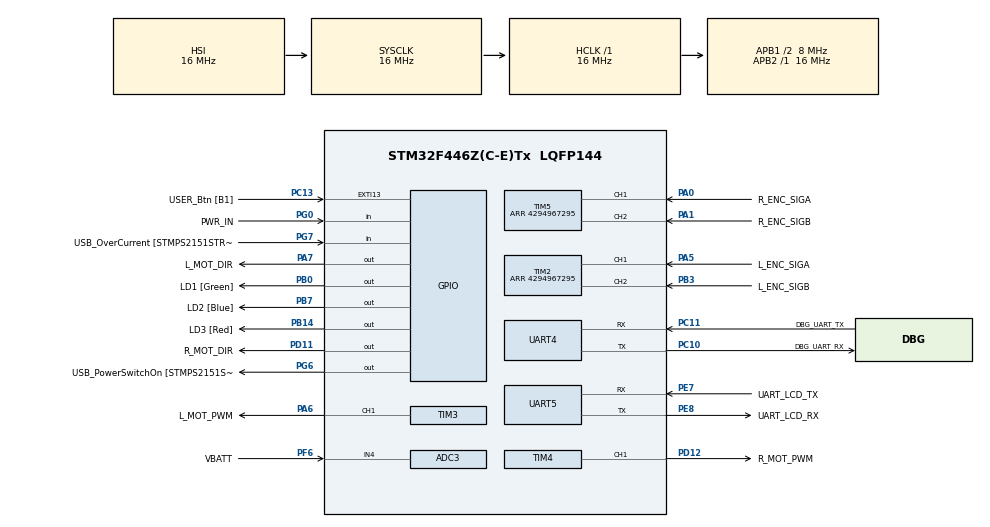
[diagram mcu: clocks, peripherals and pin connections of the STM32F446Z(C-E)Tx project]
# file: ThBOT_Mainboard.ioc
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ADC3.Channel-0\#ChannelRegularConversion=ADC_CHANNEL_4
ADC3.NbrOfConversionFlag=1
ADC3.Rank-0\#ChannelRegularConversion=1
ADC3.SamplingTime-0\#ChannelRegularConversion=ADC_SAMPLETIME_3CYCLES
Dma.Request0=UART4_RX
Dma.Request1=UART5_RX
Dma.UART4_RX.0.Direction=DMA_PERIPH_TO_MEMORY
Dma.UART4_RX.0.FIFOMode=DMA_FIFOMODE_DISABLE
Dma.UART4_RX.0.Instance=DMA1_Stream2
Dma.UART4_RX.0.MemDataAlignment=DMA_MDATAALIGN_BYTE
Dma.UART4_RX.0.MemInc=DMA_MINC_ENABLE
Dma.UART4_RX.0.Mode=DMA_NORMAL
Dma.UART4_RX.0.PeriphDataAlignment=DMA_PDATAALIGN_BYTE
Dma.UART4_RX.0.PeriphInc=DMA_PINC_DISABLE
Dma.UART4_RX.0.Priority=DMA_PRIORITY_LOW
Dma.UART5_RX.1.Direction=DMA_PERIPH_TO_MEMORY
Dma.UART5_RX.1.FIFOMode=DMA_FIFOMODE_DISABLE
Dma.UART5_RX.1.Instance=DMA1_Stream0
Dma.UART5_RX.1.MemDataAlignment=DMA_MDATAALIGN_BYTE
Dma.UART5_RX.1.MemInc=DMA_MINC_ENABLE
Dma.UART5_RX.1.Mode=DMA_NORMAL
Dma.UART5_RX.1.PeriphDataAlignment=DMA_PDATAALIGN_BYTE
Dma.UART5_RX.1.PeriphInc=DMA_PINC_DISABLE
Dma.UART5_RX.1.Priority=DMA_PRIORITY_LOW
FREERTOS.INCLUDE_vTaskDelayUntil=1
FREERTOS.Tasks01=defaultTask,0,256,StartDefaultTask,Default,NULL,Dynamic,NULL,NULL
FREERTOS.configMINIMAL_STACK_SIZE=128
Mcu.Family=STM32F4
Mcu.Name=STM32F446Z(C-E)Tx
Mcu.Package=LQFP144
NVIC.DMA1_Stream0_IRQn=true\:5\:0\:false\:false\:true\:true\:false
NVIC.DMA1_Stream2_IRQn=true\:5\:0\:false\:false\:true\:true\:false
NVIC.PriorityGroup=NVIC_PRIORITYGROUP_4
NVIC.TIM1_UP_TIM10_IRQn=true\:0\:0\:false\:false\:true\:false\:false
NVIC.TimeBase=TIM1_UP_TIM10_IRQn
NVIC.TimeBaseIP=TIM1
NVIC.UART4_IRQn=true\:5\:0\:false\:false\:true\:true\:true
NVIC.UART5_IRQn=true\:5\:0\:false\:false\:true\:true\:true
PA0-WKUP.GPIO_Label=R_ENC_SIGA
PA0-WKUP.GPIO_PuPd=GPIO_PULLUP
PA0-WKUP.Signal=S_TIM5_CH1
PA1.GPIO_Label=R_ENC_SIGB
PA1.GPIO_PuPd=GPIO_PULLUP
PA1.Signal=S_TIM5_CH2
PA10.GPIO_Label=USB_ID
PA10.Signal=USB_OTG_FS_ID
PA11.GPIO_Label=USB_DM
PA11.Signal=USB_OTG_FS_DM
PA12.GPIO_Label=USB_DP
PA12.Signal=USB_OTG_FS_DP
PA13.GPIO_Label=TMS
PA13.Mode=Serial_Wire
PA13.Signal=SYS_JTMS-SWDIO
PA14.GPIO_Label=TCK
PA14.Mode=Serial_Wire
PA14.Signal=SYS_JTCK-SWCLK
PA5.GPIO_Label=L_ENC_SIGA
PA5.GPIO_PuPd=GPIO_PULLUP
PA5.Signal=S_TIM2_CH1_ETR
PA6.GPIO_Label=L_MOT_PWM
PA6.Signal=S_TIM3_CH1
PA7.GPIO_Label=L_MOT_DIR
PA7.Signal=GPIO_Output
PA8.GPIO_Label=USB_SOF [TP1]
PA8.Signal=USB_OTG_FS_SOF
PA9.GPIO_Label=USB_VBUS
PA9.Signal=USB_OTG_FS_VBUS
PB0.GPIO_Label=LD1 [Green]
PB0.Signal=GPIO_Output
PB14.GPIO_Label=LD3 [Red]
PB14.Signal=GPIO_Output
PB3.GPIO_Label=L_ENC_SIGB
PB3.GPIO_PuPd=GPIO_PULLUP
PB3.Signal=S_TIM2_CH2
PB7.GPIO_Label=LD2 [Blue]
PB7.Signal=GPIO_Output
PC10.GPIO_Label=DBG_UART_RX
PC10.Mode=Asynchronous
PC10.Signal=UART4_TX
PC11.GPIO_Label=DBG_UART_TX
PC11.Mode=Asynchronous
PC11.Signal=UART4_RX
PC13.GPIO_Label=USER_Btn [B1]
PC13.Signal=GPXTI13
PC14-OSC32_IN.Signal=RCC_OSC32_IN
PC15-OSC32_OUT.Signal=RCC_OSC32_OUT
PD11.GPIO_Label=R_MOT_DIR
PD11.Signal=GPIO_Output
PD12.GPIO_Label=R_MOT_PWM
PD12.Signal=S_TIM4_CH1
PD8.GPIO_Label=STLK_RX [STM32F103CBT6_PA3]
PD8.Signal=USART3_TX
PD9.GPIO_Label=STLK_TX [STM32F103CBT6_PA2]
PD9.Signal=USART3_RX
PE7.GPIO_Label=UART_LCD_TX
PE7.Mode=Asynchronous
PE7.Signal=UART5_RX
PE8.GPIO_Label=UART_LCD_RX
PE8.Mode=Asynchronous
PE8.Signal=UART5_TX
PF6.GPIO_Label=VBATT
PF6.Mode=IN4
PF6.Signal=ADC3_IN4
PG0.GPIO_Label=PWR_IN
PG0.Signal=GPIO_Input
PG6.GPIO_Label=USB_PowerSwitchOn [STMPS2151STR_EN]
PG6.Signal=GPIO_Output
PG7.GPIO_Label=USB_OverCurrent [STMPS2151STR_FAULT]
PG7.Signal=GPIO_Input
PH0-OSC_IN.GPIO_Label=MCO [STM32F103CBT6_PA8]
PH0-OSC_IN.Signal=RCC_OSC_IN
PH1-OSC_OUT.Signal=RCC_OSC_OUT
ProjectManager.HeapSize=0x200
ProjectManager.StackSize=0x400
ProjectManager.TargetToolchain=SW4STM32
RCC.48MHZClocksFreq_Value=24000000
RCC.AHBFreq_Value=16000000
RCC.APB1CLKDivider=RCC_HCLK_DIV2
RCC.APB1Freq_Value=8000000
RCC.APB1TimFreq_Value=16000000
RCC.APB2Freq_Value=16000000
RCC.APB2TimFreq_Value=16000000
RCC.CortexFreq_Value=16000000
RCC.HCLKFreq_Value=16000000
RCC.HSE_VALUE=8000000
RCC.HSI_VALUE=16000000
RCC.LSE_VALUE=32768
RCC.PLLMUL=RCC_PLL_MUL9
RCC.PRESCALERUSB=RCC_USBCLKSOURCE_PLL_DIV1_5
RCC.SYSCLKFreq_VALUE=16000000
RCC.SYSCLKSourceVirtual=RCC_SYSCLKSOURCE_PLLCLK
RCC.USBFreq_Value=96000000
RCC.VCOOutputFreq_Value=192000000
SH.S_TIM2_CH1_ETR.0=TIM2_CH1,Encoder_Interface
SH.S_TIM2_CH2.0=TIM2_CH2,Encoder_Interface
SH.S_TIM3_CH1.0=TIM3_CH1,PWM Generation1 CH1
SH.S_TIM4_CH1.0=TIM4_CH1,PWM Generation1 CH1
SH.S_TIM5_CH1.0=TIM5_CH1,Encoder_Interface
SH.S_TIM5_CH2.0=TIM5_CH2,Encoder_Interface
TIM2.IC1Polarity=TIM_ICPOLARITY_RISING
TIM2.IC2Polarity=TIM_ICPOLARITY_RISING
TIM2.Period=4294967295
TIM3.Channel-PWM\ Generation1\ CH1=TIM_CHANNEL_1
TIM3.Period=1000
TIM3.Pulse-PWM\ Generation1\ CH1=1
TIM4.Channel-PWM\ Generation1\ CH1=TIM_CHANNEL_1
TIM4.Period=1000
TIM4.Pulse-PWM\ Generation1\ CH1=1
TIM5.Period=4294967295
UART4.VirtualMode=Asynchronous
UART5.VirtualMode=Asynchronous
VP_FREERTOS_VS_ENABLE.Mode=Enabled
VP_SYS_VS_tim1.Mode=TIM1
board=NUCLEO-F446ZE

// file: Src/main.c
/**
  ******************************************************************************
  * File Name          : main.c
  * Description        : Main program body
  ******************************************************************************
  * This notice applies to any and all portions of this file
  * that are not between comment pairs USER CODE BEGIN and
  * USER CODE END. Other portions of this file, whether
  * inserted by the user or by software development tools
  * are owned by their respective copyright owners.
  *
  * Copyright (c) 2018 STMicroelectronics International N.V.
  * All rights reserved.
  *
  * Redistribution and use in source and binary forms, with or without
  * modification, are permitted, provided that the following conditions are met:
  *
  * 1. Redistribution of source code must retain the above copyright notice,
  *    this list of conditions and the following disclaimer.
  * 2. Redistributions in binary form must reproduce the above copyright notice,
  *    this list of conditions and the following disclaimer in the documentation
  *    and/or other materials provided with the distribution.
  * 3. Neither the name of STMicroelectronics nor the names of other
  *    contributors to this software may be used to endorse or promote products
  *    derived from this software without specific written permission.
  * 4. This software, including modifications and/or derivative works of this
  *    software, must execute solely and exclusively on microcontroller or
  *    microprocessor devices manufactured by or for STMicroelectronics.
  * 5. Redistribution and use of this software other than as permitted under
  *    this license is void and will automatically terminate your rights under
  *    this license.
  *
  * THIS SOFTWARE IS PROVIDED BY STMICROELECTRONICS AND CONTRIBUTORS "AS IS"
  * AND ANY EXPRESS, IMPLIED OR STATUTORY WARRANTIES, INCLUDING, BUT NOT
  * LIMITED TO, THE IMPLIED WARRANTIES OF MERCHANTABILITY, FITNESS FOR A
  * PARTICULAR PURPOSE AND NON-INFRINGEMENT OF THIRD PARTY INTELLECTUAL PROPERTY
  * RIGHTS ARE DISCLAIMED TO THE FULLEST EXTENT PERMITTED BY LAW. IN NO EVENT
  * SHALL STMICROELECTRONICS OR CONTRIBUTORS BE LIABLE FOR ANY DIRECT, INDIRECT,
  * INCIDENTAL, SPECIAL, EXEMPLARY, OR CONSEQUENTIAL DAMAGES (INCLUDING, BUT NOT
  * LIMITED TO, PROCUREMENT OF SUBSTITUTE GOODS OR SERVICES; LOSS OF USE, DATA,
  * OR PROFITS; OR BUSINESS INTERRUPTION) HOWEVER CAUSED AND ON ANY THEORY OF
  * LIABILITY, WHETHER IN CONTRACT, STRICT LIABILITY, OR TORT (INCLUDING
  * NEGLIGENCE OR OTHERWISE) ARISING IN ANY WAY OUT OF THE USE OF THIS SOFTWARE,
  * EVEN IF ADVISED OF THE POSSIBILITY OF SUCH DAMAGE.
  *
  ******************************************************************************
  */

#include "main.h"
#include "stm32f4xx_hal.h"
#include "cmsis_os.h"
#include "adc.h"
#include "dma.h"
#include "tim.h"
#include "usart.h"
#include "gpio.h"

/* USER CODE BEGIN Includes */
/* http://www.openstm32.org/forumthread339 */
/* #include "cmsis_os.h" */
#include "thb-bsp.h"

#include "RobotCore_C.h"

//#include "core_cm4.h"
/* USER CODE END Includes */

/* USER CODE BEGIN PV */
/* Private variables ---------------------------------------------------------*/
struct RobotCore * ptr_RobotCore;

/* USER CODE END PV */

#ifdef __GNUC__
/* With GCC, small printf (option LD Linker->Libraries->Small printf
   set to 'Yes') calls __io_putchar() */
#define PUTCHAR_PROTOTYPE int __io_putchar(int ch)
#define GETCHAR_PROTOTYPE int __io_getchar(void)
#else
#define PUTCHAR_PROTOTYPE int fputc(int ch, FILE *f)
#define GETCHAR_PROTOTYPE int fgetc(FILE *f)
#endif /* __GNUC__ */

void SystemClock_Config(void);
void MX_FREERTOS_Init(void);

/* USER CODE BEGIN PFP */
/* Private function prototypes -----------------------------------------------*/
extern void initialise_monitor_handles(void);

/* USER CODE END PFP */

/* USER CODE BEGIN 0 */
// Stub for release version
__weak void initialise_monitor_handles(void)
{
}

/**
  * @brief  Retargets the C library printf function to the USART.
  * @param  None
  * @retval None
  */
PUTCHAR_PROTOTYPE
{
  /* Place your implementation of fputc here */
  /* e.g. write a character to the USART and Loop until the end of transmission */
  thb_UART4_SendData((char *)&ch, 1);

  return ch;
}

GETCHAR_PROTOTYPE {
	char ch = '\0';

	thb_UART4_ReceivedData((char *)&ch, 1);

	return ch;
}
static const char CrashMessage[]="Crash!!!\n";

#if 1
// https://www.segger.com/downloads/application-notes/AN00016

// System Handler Control and State Register
#define SYSHND_CTRL (*(volatile unsigned int*)  (0xE000ED24u))
// Memory Management Fault Status Register
#define NVIC_MFSR   (*(volatile unsigned char*) (0xE000ED28u))
// Bus Fault Status Register
#define NVIC_BFSR   (*(volatile unsigned char*) (0xE000ED29u))
// Usage Fault Status Register
#define NVIC_UFSR   (*(volatile unsigned short*)(0xE000ED2Au))
// Hard Fault Status Register
#define NVIC_HFSR   (*(volatile unsigned int*)  (0xE000ED2Cu))
// Debug Fault Status Register
#define NVIC_DFSR   (*(volatile unsigned int*)  (0xE000ED30u))
// Bus Fault Manage Address Register
#define NVIC_BFAR   (*(volatile unsigned int*)  (0xE000ED38u))
// Auxiliary Fault Status Register
#define NVIC_AFSR   (*(volatile unsigned int*)  (0xE000ED3Cu))

static struct {
  struct {
    volatile unsigned int r0;           // Register R0
    volatile unsigned int r1;// Register R1
    volatile unsigned int r2;// Register R2
    volatile unsigned int r3;// Register R3
    volatile unsigned int r12;// Register R12
    volatile unsigned int lr;// Link register
    volatile unsigned int pc;  // Program counter
    union {
      volatile unsigned int byte;
      struct {
        unsigned int IPSR : 8;          // Interrupt Program Status register (IPSR)
        unsigned int EPSR : 19;         // Execution Program Status register (EPSR)
         unsigned int APSR : 5;           // Application Program Status register (APSR)
      } bits;
    } psr;                              // Program status register.
  } SavedRegs;

  union {
   volatile unsigned int byte;
   struct {
     unsigned int MEMFAULTACT    : 1;// Read as 1 if memory management fault
                                       // is active
     unsigned int BUSFAULTACT     : 1;// Read as 1 if bus fault exception is active
  unsigned int UnusedBits1    : 1;
  unsigned int USGFAULTACT    : 1;// Read as 1 if usage fault exception
                                     // is active
  unsigned int UnusedBits2    : 3;
  unsigned int SVCALLACT      : 1;// Read as 1 if SVC exception is active
  unsigned int MONITORACT     : 1;// Read as 1 if debug monitor exception
                                     // is active
  unsigned int UnusedBits3    : 1;
  unsigned int PENDSVACT      : 1;// Read as 1 if PendSV exception is active
  unsigned int SYSTICKACT     : 1;// Read as 1 if SYSTICK exception is active
  unsigned int USGFAULTPENDED : 1;// Usage fault pended; usage fault started
                                     // but was replaced by a higher-priority
                                     // exception
  unsigned int MEMFAULTPENDED : 1;// Memory management fault pended; memory
                                     // management fault started but was
                                     // replaced by a higher-priority exception
  unsigned int BUSFAULTPENDED : 1;// Bus fault pended; bus fault handler was
                                     // started but was replaced by a
                                     // higher-priority exception
  unsigned int SVCALLPENDED   : 1;// SVC pended; SVC was started but was
                                     // replaced by a higher-priority exception
  unsigned int MEMFAULTENA    : 1;// Memory management fault handler enable
  unsigned int BUSFAULTENA    : 1;// Bus fault handler enable
  unsigned int USGFAULTENA    : 1;// Usage fault handler enable
} bits;
} syshndctrl;

  union {
    volatile unsigned char byte;
    struct {
      unsigned char IACCVIOL    : 1;// Instruction access violation
      unsigned char DACCVIOL    : 1;// Data access violation
      unsigned char UnusedBits  : 1;
      unsigned char MUNSTKERR   : 1;// Unstacking error
      unsigned char MSTKERR     : 1; // Stacking error
      unsigned char UnusedBits2 : 2;
      unsigned char MMARVALID   : 1;// Indicates the MMAR is valid
    } bits;
  } mfsr;
                                // Memory Management Fault Status
                                         // Register (0xE000ED28)
  union {
    volatile unsigned int byte;
    struct {
      unsigned int IBUSERR    : 1; // Instruction access violation
      unsigned int PRECISERR  : 1;// Precise data access violation
      unsigned int IMPREISERR : 1;// Imprecise data access violation
      unsigned int UNSTKERR   : 1;// Unstacking error
      unsigned int STKERR     : 1;// Stacking error
      unsigned int UnusedBits : 2;
      unsigned int BFARVALID  : 1; // Indicates BFAR is valid
    } bits;
  } bfsr; // Bus Fault Status Register (0xE000ED29)

  volatile unsigned int bfar;            // Bus Fault Manage Address Register
                                         // (0xE000ED38)
  union {
    volatile unsigned short byte;
    struct {
      unsigned short UNDEFINSTR : 1;     // Attempts to execute an undefined
                                         // instruction
      unsigned short INVSTATE   : 1;     // Attempts to switch to an invalid state
                                         // (e.g., ARM)
      unsigned short INVPC      : 1;     // Attempts to do an exception with a bad
                                         // value in the EXC_RETURN number
      unsigned short NOCP       : 1;     // Attempts to execute a coprocessor
                                         // instruction
      unsigned short UnusedBits : 4;
      unsigned short UNALIGNED  : 1;     // Indicates that an unaligned access fault
                                         // has taken place
      unsigned short DIVBYZERO  : 1;     // Indicates a divide by zero has taken
                                         // place (can be set only if DIV_0_TRP
                                         // is set)
    } bits;
  } ufsr;

  union {
    volatile unsigned int byte;
    struct {
      unsigned int UnusedBits  : 1;
  unsigned int VECTBL      : 1;		// Indicates hard fault is caused by failed
                                    // vector fetch
  unsigned int UnusedBits2 : 28;
  unsigned int FORCED      : 1;		// Indicates hard fault is taken because of
                                    // bus fault/memory management fault/usage
                                    // fault
  unsigned int DEBUGEVT    : 1;		// Indicates hard fault is triggered by
                                    // debug event
	} bits;
  } hfsr;							// Hard Fault Status Register (0xE000ED2C)

  union {
	  volatile unsigned int byte;
	  struct {
		  unsigned int HALTED   : 1;// Halt requested in NVIC
		  unsigned int BKPT     : 1;// BKPT instruction executed
		  unsigned int DWTTRAP  : 1;// DWT match occurred
		  unsigned int VCATCH   : 1;// Vector fetch occurred
		  unsigned int EXTERNAL : 1;// EDBGRQ signal asserted
    } bits;
  } dfsr;                              // Debug Fault Status Register (0xE000ED30)
  volatile unsigned int afsr;          // Auxiliary Fault Status Register
                                     // (0xE000ED3C) Vendor controlled (optional)
} HardFaultRegs;

__weak void HardFault_Handler(void)
{
	__asm volatile
	(
			" tst lr, #4                                                \n"
	        " ite eq                                                    \n"
	        " mrseq r0, msp                                             \n"
	        " mrsne r0, psp                                             \n"
			" b     HardFaultHandler                                    \n"
	);
}

static volatile uint32_t _Continue = 0u;

void HardFaultHandler(unsigned int* pStack){

	  //
	  // In case we received a hard fault because of a breakpoint instruction, we return.
	  // This may happen when using semihosting for printf outputs and no debugger
	  // is connected, i.e. when running a "Debug" configuration in release mode.
	  //
	if (SCB->HFSR & (1uL << 31)) {
		SCB->HFSR |=  (1uL << 31);
	// Reset Hard Fault status
	  *(pStack + 6u) += 2u;
	        // PC is located on stack at SP + 24 bytes;
	                               // increment PC by 2 to skip break instruction.
	  return;
	}

	//
	// Read NVIC registers
	//
	HardFaultRegs.syshndctrl.byte = SYSHND_CTRL;	// System Handler Control and
	                                                // State Register
	HardFaultRegs.mfsr.byte       = NVIC_MFSR;      // Memory Fault Status Register
	HardFaultRegs.bfsr.byte       = NVIC_BFSR;    	// Bus Fault Status Register
	HardFaultRegs.bfar            = NVIC_BFAR;    	// Bus Fault Manage Address Register
	HardFaultRegs.ufsr.byte       = NVIC_UFSR;    	// Usage Fault Status Register
	HardFaultRegs.hfsr.byte       = NVIC_HFSR;    	// Hard Fault Status Register
	HardFaultRegs.dfsr.byte       = NVIC_DFSR;    	// Debug Fault Status Register
	HardFaultRegs.afsr            = NVIC_AFSR;    	// Auxiliary Fault Status Register
	//
	// Halt execution
	// If NVIC registers indicate readable memory, change the variable value
	// to != 0 to continue execution.
	//

	thb_UART4_SendData(&HardFaultRegs.bfsr.byte, 1);

	thb_UART4_SendData((char *)CrashMessage, 9);
	while (_Continue == 0u);

	//
	// Read saved registers from the stack
	//
	HardFaultRegs.SavedRegs.r0       = pStack[0];  // Register R0
	HardFaultRegs.SavedRegs.r1       = pStack[1];  // Register R1
	HardFaultRegs.SavedRegs.r2       = pStack[2];  // Register R2
	HardFaultRegs.SavedRegs.r3       = pStack[3];  // Register R3
	HardFaultRegs.SavedRegs.r12      = pStack[4];  // Register R12
	HardFaultRegs.SavedRegs.lr       = pStack[5];  // Link register LR
	HardFaultRegs.SavedRegs.pc       = pStack[6];  // Program counter PC
	HardFaultRegs.SavedRegs.psr.byte = pStack[7];  // Program status word PSR
	//
	// Halt execution
	// To step out of the HardFaultHandler, change the variable value to != 0.
	//
	_Continue = 0u;
	while (_Continue == 0u) {
	}
}
#else
/************************************************************************************/
// https://mcuoneclipse.com/2017/07/02/using-freertos-with-newlib-and-newlib-nano/
// configUSE_NEWLIB_REENTRANT
//
/* https://www.freertos.org/Debugging-Hard-Faults-On-Cortex-M-Microcontrollers.html */
/************************************************************************************/
/* The fault handler implementation calls a function called
prvGetRegistersFromStack(). */
__weak void HardFault_Handler(void)
{
	static volatile uint32_t _Continue = 0u;
	  //
	  // In case we received a hard fault because of a breakpoint instruction, we return.
	  // This may happen when using semihosting for printf outputs and no debugger
	  // is connected, i.e. when running a "Debug" configuration in release mode.
	  //
	if (SCB->HFSR & (1uL << 31)) {
		SCB->HFSR |=  (1uL << 31);
	// Reset Hard Fault status
	  *(pStack + 6u) += 2u;
	        // PC is located on stack at SP + 24 bytes;
	                               // increment PC by 2 to skip break instruction.
	  return;
	}

	while(_Continue == 0u);
    __asm volatile
    (
        " tst lr, #4                                                \n"
        " ite eq                                                    \n"
        " mrseq r0, msp                                             \n"
        " mrsne r0, psp                                             \n"
        " ldr r1, [r0, #24]                                         \n"
        " ldr r2, handler2_address_const                            \n"
        " bx r2                                                     \n"
        " handler2_address_const: .word prvGetRegistersFromStack    \n"
    );
}

void prvGetRegistersFromStack( uint32_t *pulFaultStackAddress )
{
	static volatile uint32_t _Continue = 0u;
/* These are volatile to try and prevent the compiler/linker optimising them
away as the variables never actually get used.  If the debugger won't show the
values of the variables, make them global my moving their declaration outside
of this function. */
volatile uint32_t r0;
volatile uint32_t r1;
volatile uint32_t r2;
volatile uint32_t r3;
volatile uint32_t r12;
volatile uint32_t lr; /* Link register. */
volatile uint32_t pc; /* Program counter. */
volatile uint32_t psr;/* Program status register. */

    r0 = pulFaultStackAddress[ 0 ];
    r1 = pulFaultStackAddress[ 1 ];
    r2 = pulFaultStackAddress[ 2 ];
    r3 = pulFaultStackAddress[ 3 ];

    r12 = pulFaultStackAddress[ 4 ];
    lr = pulFaultStackAddress[ 5 ];
    pc = pulFaultStackAddress[ 6 ];
    psr = pulFaultStackAddress[ 7 ];

    /* When the following line is hit, the variables contain the register values. */
    while(_Continue == 0u);
}
/************************************************************************************/
#endif

void MainLoop(void)
{
	RobotCore_C_task(ptr_RobotCore);
}

/* USER CODE END 0 */

int main(void)
{

  /* USER CODE BEGIN 1 */
	initialise_monitor_handles();

  /* USER CODE END 1 */

  /* MCU Configuration----------------------------------------------------------*/

  /* Reset of all peripherals, Initializes the Flash interface and the Systick. */
  HAL_Init();

  /* Configure the system clock */
  SystemClock_Config();

  /* Initialize all configured peripherals */
  MX_GPIO_Init();
  MX_DMA_Init();
  MX_TIM2_Init();
  MX_TIM3_Init();
  MX_TIM4_Init();
  MX_TIM5_Init();
  MX_UART5_Init();
  MX_ADC3_Init();
  MX_UART4_Init();

  /* USER CODE BEGIN 2 */
  thb_UART4_Init();
  thb_UART5_Init();

  HAL_GPIO_WritePin(LD1_GPIO_Port, LD1_Pin, GPIO_PIN_SET);
  HAL_GPIO_WritePin(LD2_GPIO_Port, LD2_Pin, GPIO_PIN_RESET);
  HAL_GPIO_WritePin(LD3_GPIO_Port, LD3_Pin, GPIO_PIN_SET);

  HAL_GPIO_WritePin(GPIOA, GPIO_PIN_7, GPIO_PIN_SET);
  HAL_GPIO_WritePin(GPIOD, GPIO_PIN_11, GPIO_PIN_RESET);

  // Init and Start Encoders Counters
  __HAL_TIM_SET_COUNTER(&htim2, 2147483647);
  __HAL_TIM_SET_COUNTER(&htim5, 2147483647);
  HAL_TIM_Encoder_Start(&htim2, TIM_CHANNEL_ALL);
  HAL_TIM_Encoder_Start(&htim5, TIM_CHANNEL_ALL);

  // Start Motors PWMs
  HAL_TIM_PWM_Start(&htim3, TIM_CHANNEL_1);
  HAL_TIM_PWM_Start(&htim4, TIM_CHANNEL_1);

  ptr_RobotCore = RobotCore_C_new();
  RobotCore_C_init(ptr_RobotCore);

  //SCnSCB->ACTLR |= SCnSCB_ACTLR_DISDEFWBUF_Pos;
	printf("Hello !\n");
  /* USER CODE END 2 */

  /* Call init function for freertos objects (in freertos.c) */
  MX_FREERTOS_Init();

  /* Start scheduler */
  osKernelStart();

  /* We should never get here as control is now taken by the scheduler */

  /* Infinite loop */
  while (1)
  {

  }

}

/** System Clock Configuration
*/
void SystemClock_Config(void)
{

  RCC_OscInitTypeDef RCC_OscInitStruct;
  RCC_ClkInitTypeDef RCC_ClkInitStruct;

    /**Configure the main internal regulator output voltage
    */
  __HAL_RCC_PWR_CLK_ENABLE();

  __HAL_PWR_VOLTAGESCALING_CONFIG(PWR_REGULATOR_VOLTAGE_SCALE3);

    /**Initializes the CPU, AHB and APB busses clocks
    */
  RCC_OscInitStruct.OscillatorType = RCC_OSCILLATORTYPE_HSI;
  RCC_OscInitStruct.HSIState = RCC_HSI_ON;
  RCC_OscInitStruct.HSICalibrationValue = 16;
  RCC_OscInitStruct.PLL.PLLState = RCC_PLL_NONE;
  if (HAL_RCC_OscConfig(&RCC_OscInitStruct) != HAL_OK)
  {
    _Error_Handler(__FILE__, __LINE__);
  }

    /**Initializes the CPU, AHB and APB busses clocks
    */
  RCC_ClkInitStruct.ClockType = RCC_CLOCKTYPE_HCLK|RCC_CLOCKTYPE_SYSCLK
                              |RCC_CLOCKTYPE_PCLK1|RCC_CLOCKTYPE_PCLK2;
  RCC_ClkInitStruct.SYSCLKSource = RCC_SYSCLKSOURCE_HSI;
  RCC_ClkInitStruct.AHBCLKDivider = RCC_SYSCLK_DIV1;
  RCC_ClkInitStruct.APB1CLKDivider = RCC_HCLK_DIV2;
  RCC_ClkInitStruct.APB2CLKDivider = RCC_HCLK_DIV1;

  if (HAL_RCC_ClockConfig(&RCC_ClkInitStruct, FLASH_LATENCY_0) != HAL_OK)
  {
    _Error_Handler(__FILE__, __LINE__);
  }

    /**Configure the Systick interrupt time
    */
  HAL_SYSTICK_Config(HAL_RCC_GetHCLKFreq()/1000);

    /**Configure the Systick
    */
  HAL_SYSTICK_CLKSourceConfig(SYSTICK_CLKSOURCE_HCLK);

  /* SysTick_IRQn interrupt configuration */
  HAL_NVIC_SetPriority(SysTick_IRQn, 15, 0);
}

void HAL_TIM_PeriodElapsedCallback(TIM_HandleTypeDef *htim)
{
  if (htim->Instance == TIM1) {
    HAL_IncTick();
  }
}

void _Error_Handler(char * file, int line)
{
  while(1)
  {
  }
}

/************************ (C) COPYRIGHT STMicroelectronics *****END OF FILE****/

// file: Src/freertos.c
/**
  ******************************************************************************
  * File Name          : freertos.c
  * Description        : Code for freertos applications
  ******************************************************************************
  * This notice applies to any and all portions of this file
  * that are not between comment pairs USER CODE BEGIN and
  * USER CODE END. Other portions of this file, whether
  * inserted by the user or by software development tools
  * are owned by their respective copyright owners.
  *
  * Copyright (c) 2018 STMicroelectronics International N.V.
  * All rights reserved.
  *
  * Redistribution and use in source and binary forms, with or without
  * modification, are permitted, provided that the following conditions are met:
  *
  * 1. Redistribution of source code must retain the above copyright notice,
  *    this list of conditions and the following disclaimer.
  * 2. Redistributions in binary form must reproduce the above copyright notice,
  *    this list of conditions and the following disclaimer in the documentation
  *    and/or other materials provided with the distribution.
  * 3. Neither the name of STMicroelectronics nor the names of other
  *    contributors to this software may be used to endorse or promote products
  *    derived from this software without specific written permission.
  * 4. This software, including modifications and/or derivative works of this
  *    software, must execute solely and exclusively on microcontroller or
  *    microprocessor devices manufactured by or for STMicroelectronics.
  * 5. Redistribution and use of this software other than as permitted under
  *    this license is void and will automatically terminate your rights under
  *    this license.
  *
  * THIS SOFTWARE IS PROVIDED BY STMICROELECTRONICS AND CONTRIBUTORS "AS IS"
  * AND ANY EXPRESS, IMPLIED OR STATUTORY WARRANTIES, INCLUDING, BUT NOT
  * LIMITED TO, THE IMPLIED WARRANTIES OF MERCHANTABILITY, FITNESS FOR A
  * PARTICULAR PURPOSE AND NON-INFRINGEMENT OF THIRD PARTY INTELLECTUAL PROPERTY
  * RIGHTS ARE DISCLAIMED TO THE FULLEST EXTENT PERMITTED BY LAW. IN NO EVENT
  * SHALL STMICROELECTRONICS OR CONTRIBUTORS BE LIABLE FOR ANY DIRECT, INDIRECT,
  * INCIDENTAL, SPECIAL, EXEMPLARY, OR CONSEQUENTIAL DAMAGES (INCLUDING, BUT NOT
  * LIMITED TO, PROCUREMENT OF SUBSTITUTE GOODS OR SERVICES; LOSS OF USE, DATA,
  * OR PROFITS; OR BUSINESS INTERRUPTION) HOWEVER CAUSED AND ON ANY THEORY OF
  * LIABILITY, WHETHER IN CONTRACT, STRICT LIABILITY, OR TORT (INCLUDING
  * NEGLIGENCE OR OTHERWISE) ARISING IN ANY WAY OUT OF THE USE OF THIS SOFTWARE,
  * EVEN IF ADVISED OF THE POSSIBILITY OF SUCH DAMAGE.
  *
  ******************************************************************************
  */

#include "FreeRTOS.h"
#include "task.h"
#include "cmsis_os.h"

/* USER CODE BEGIN Includes */
#include "stm32f4xx_hal.h"
#include "tim.h"
#include "thb-task.h"
/* USER CODE END Includes */

osThreadId defaultTaskHandle;

void StartDefaultTask(void const * argument);

void MX_FREERTOS_Init(void); /* (MISRA C 2004 rule 8.1) */

/* Hook prototypes */

/* Init FreeRTOS */

void MX_FREERTOS_Init(void) {

  /* Create the thread(s) */
  /* definition and creation of defaultTask */
  osThreadDef(defaultTask, StartDefaultTask, osPriorityNormal, 0, 1024);
  defaultTaskHandle = osThreadCreate(osThread(defaultTask), NULL);

}

/* StartDefaultTask function */
void StartDefaultTask(void const * argument)
{

  /* USER CODE BEGIN StartDefaultTask */
  printf("Start default task...\n");
  /* Infinite loop */
  for(;;)
  {
	MainLoop();
  }
  /* USER CODE END StartDefaultTask */
}

/************************ (C) COPYRIGHT STMicroelectronics *****END OF FILE****/
